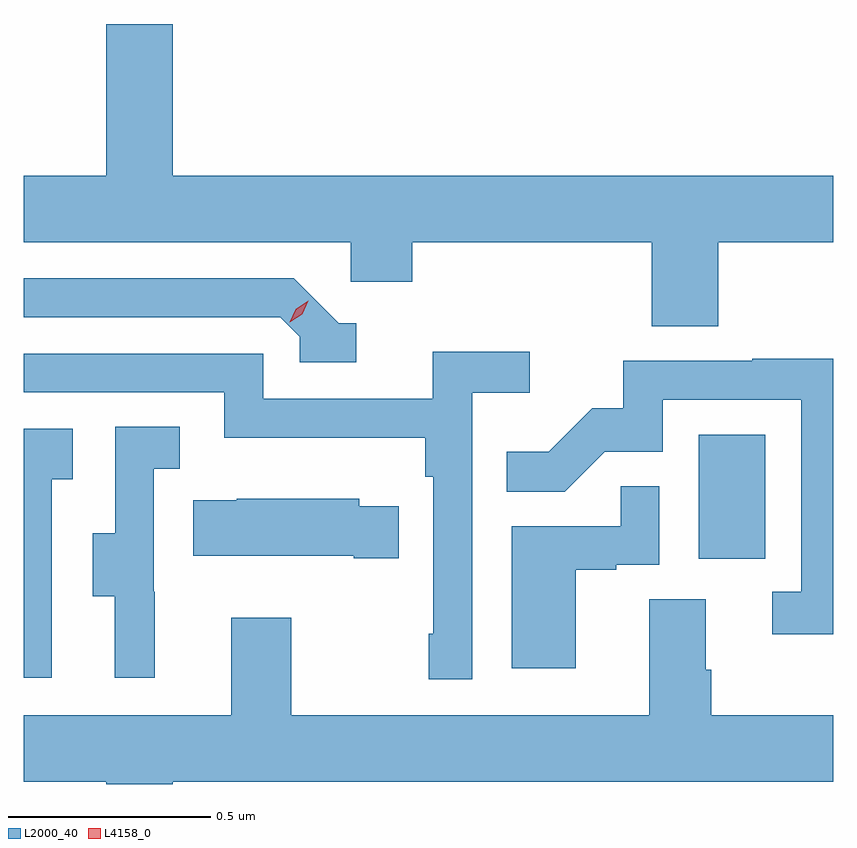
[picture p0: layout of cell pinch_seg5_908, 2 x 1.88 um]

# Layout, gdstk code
import gdstk
lib = gdstk.Library(unit=1e-6, precision=1e-09)
def R(c, l, rs):  # rectangles x0, y0, x1, y1
    for r in rs: c.add(gdstk.rectangle(r[:2], r[2:], *l))
def P(c, l, *ps):  # polygons
    for p in ps: c.add(gdstk.Polygon(p, *l))
L2000_40 = (2000, 40)
L4158_0 = (4158, 0)

pinch_seg5_908 = lib.new_cell('pinch_seg5_908')
R(pinch_seg5_908, L2000_40, [(861.776,878.622,861.94,878.929)])
P(pinch_seg5_908, L2000_40, [(861.824,879.404),(862.108,879.404),(862.108,879.568),(860.476,879.568),(860.476,879.943),(860.312,879.943),(860.312,879.568),(860.108,879.568),(860.108,879.404),(860.916,879.404),(860.916,879.306),(861.068,879.306),(861.068,879.404),(861.659,879.404),(861.659,879.196),(861.824,879.196)],
  [(860.929,879.204),(860.886,879.204),(860.775,879.315),(860.108,879.315),(860.108,879.219),(860.742,879.219),(860.79,879.171),(860.79,879.108),(860.929,879.108)],
  [(861.216,879.032),(861.358,879.032),(861.358,879.134),(861.119,879.134),(861.119,879.018),(860.7,879.018),(860.7,879.129),(860.108,879.129),(860.108,879.033),(860.604,879.033),(860.604,878.921),(861.1,878.921),(861.1,878.825),(861.12,878.825),(861.12,878.437),(861.108,878.437),(861.108,878.325),(861.216,878.325)],
  [(862.108,879.116),(861.907,879.116),(861.907,879.111),(861.589,879.111),(861.589,878.994),(861.512,878.994),(861.405,878.887),(861.301,878.887),(861.301,878.788),(861.445,878.788),(861.543,878.886),(861.687,878.886),(861.687,879.015),(862.029,879.015),(862.029,878.541),(861.957,878.541),(861.957,878.436),(862.108,878.436)],
  [(860.432,878.541),(860.43,878.541),(860.43,878.845),(860.494,878.845),(860.494,878.948),(860.334,878.948),(860.334,878.685),(860.279,878.685),(860.279,878.53),(860.333,878.53),(860.333,878.328),(860.432,878.328)],
  [(860.178,878.819),(860.23,878.819),(860.23,878.943),(860.108,878.943),(860.108,878.328),(860.178,878.328)],
  [(861.472,878.595),(861.572,878.595),(861.572,878.607),(861.678,878.607),(861.678,878.801),(861.583,878.801),(861.583,878.703),(861.314,878.703),(861.314,878.352),(861.472,878.352)],
  [(861.035,878.752),(860.937,878.752),(860.937,878.77),(860.635,878.77),(860.635,878.767),(860.527,878.767),(860.527,878.63),(860.924,878.63),(860.924,878.623),(861.035,878.623)],
  [(860.476,878.072),(862.108,878.072),(862.108,878.236),(861.806,878.236),(861.806,878.348),(861.793,878.348),(861.793,878.522),(861.653,878.522),(861.653,878.236),(860.769,878.236),(860.769,878.476),(860.621,878.476),(860.621,878.236),(860.108,878.236),(860.108,878.072),(860.312,878.072),(860.312,878.066),(860.476,878.066)])
P(pinch_seg5_908, L4158_0, [(860.765,879.206),(860.765,879.206),(860.78,879.239),(860.811,879.259),(860.811,879.259),(860.811,879.259),(860.796,879.226),(860.765,879.206)])

lib.write_gds('pinch_seg5_908.gds')
